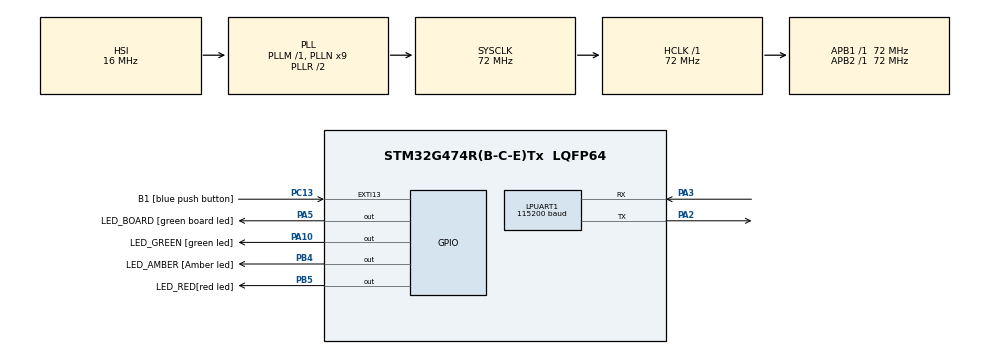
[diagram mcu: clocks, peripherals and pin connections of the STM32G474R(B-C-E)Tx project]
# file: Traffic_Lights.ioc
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LPUART1.BaudRate=115200
Mcu.Family=STM32G4
Mcu.Name=STM32G474R(B-C-E)Tx
Mcu.Package=LQFP64
Mcu.UserConstants=T1_PRE,7199;T1_CNT,2000
NVIC.EXTI15_10_IRQn=true\:0\:0\:false\:false\:true\:true\:true\:true
NVIC.PriorityGroup=NVIC_PRIORITYGROUP_4
NVIC.TIM1_UP_TIM16_IRQn=true\:0\:0\:false\:false\:true\:true\:true\:true
PA10.GPIO_Label=LED_GREEN [green led]
PA10.Signal=GPIO_Output
PA13.GPIO_Label=T_SWDIO
PA13.Mode=Serial_Wire
PA13.Signal=SYS_JTMS-SWDIO
PA14.GPIO_Label=T_SWCLK
PA14.Mode=Serial_Wire
PA14.Signal=SYS_JTCK-SWCLK
PA2.GPIO_Speed=GPIO_SPEED_FREQ_MEDIUM
PA2.Mode=Asynchronous
PA2.Signal=LPUART1_TX
PA3.GPIO_Mode=GPIO_MODE_AF_PP
PA3.GPIO_PuPd=GPIO_NOPULL
PA3.GPIO_Speed=GPIO_SPEED_FREQ_LOW
PA3.Mode=Asynchronous
PA3.Signal=LPUART1_RX
PA5.GPIO_Label=LED_BOARD [green board led]
PA5.Signal=GPIO_Output
PB3.GPIO_Label=T_SWO
PB3.Signal=SYS_JTDO-SWO
PB4.GPIO_Label=LED_AMBER [Amber led]
PB4.Signal=GPIO_Output
PB5.GPIO_Label=LED_RED[red led]
PB5.Signal=GPIO_Output
PC13.GPIO_Label=B1 [blue push button]
PC13.GPIO_ModeDefaultEXTI=GPIO_MODE_IT_RISING_FALLING
PC13.Signal=GPXTI13
PC14-OSC32_IN.Mode=LSE-External-Oscillator
PC14-OSC32_IN.Signal=RCC_OSC32_IN
PC15-OSC32_OUT.Mode=LSE-External-Oscillator
PC15-OSC32_OUT.Signal=RCC_OSC32_OUT
PF0-OSC_IN.Mode=HSE-External-Oscillator
PF0-OSC_IN.Signal=RCC_OSC_IN
PF1-OSC_OUT.Mode=HSE-External-Oscillator
PF1-OSC_OUT.Signal=RCC_OSC_OUT
ProjectManager.HeapSize=0x200
ProjectManager.StackSize=0x400
ProjectManager.TargetToolchain=STM32CubeIDE
RCC.ADC12Freq_Value=72000000
RCC.ADC345Freq_Value=72000000
RCC.AHBFreq_Value=72000000
RCC.APB1Freq_Value=72000000
RCC.APB1TimFreq_Value=72000000
RCC.APB2Freq_Value=72000000
RCC.APB2TimFreq_Value=72000000
RCC.CortexFreq_Value=72000000
RCC.EXTERNAL_CLOCK_VALUE=12288000
RCC.HCLKFreq_Value=72000000
RCC.HSE_VALUE=24000000
RCC.HSI48_VALUE=48000000
RCC.HSI_VALUE=16000000
RCC.PLLN=9
RCC.RTCClockSelection=RCC_RTCCLKSOURCE_LSE
RCC.SYSCLKFreq_VALUE=72000000
RCC.SYSCLKSource=RCC_SYSCLKSOURCE_PLLCLK
RCC.USBFreq_Value=72000000
RCC.VCOOutputFreq_Value=144000000
TIM1.PeriodNoDither=T1_CNT
TIM1.Prescaler=T1_PRE
TIM1.TIM_MasterOutputTrigger=TIM_TRGO_UPDATE
TIM1.TIM_MasterOutputTrigger2=TIM_TRGO2_UPDATE
VP_SYS_VS_DBSignals.Mode=DisableDeadBatterySignals
VP_TIM1_VS_ClockSourceINT.Mode=Internal
board=NUCLEO-G474RE

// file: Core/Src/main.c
/* USER CODE BEGIN Header */
/**
 ******************************************************************************
 * @file           : main.c
 * @brief          : Main program body
 ******************************************************************************
 * @attention
 *
 * Copyright (c) 2023 STMicroelectronics.
 * All rights reserved.
 *
 * This software is licensed under terms that can be found in the LICENSE file
 * in the root directory of this software component.
 * If no LICENSE file comes with this software, it is provided AS-IS.
 *
 ******************************************************************************
 */
/* USER CODE END Header */
#include "main.h"

/* USER CODE BEGIN Includes */
#include <stdio.h>
#include <stdbool.h>

/* USER CODE END Includes */

/* USER CODE BEGIN PD */

// Time in ms between each state
#define STATE_TRANSITION_DELAY 2500
// Green light state takes SHORTEN_FACTOR+1 times less time when pb pressed
#define SHORTEN_FACTOR 2
/* USER CODE END PD */

UART_HandleTypeDef hlpuart1;

TIM_HandleTypeDef htim1;

/* USER CODE BEGIN PV */
bool pb_pushed = false;

enum Traffic_light_state
{
  GO,
  READY_STOP,
  STOP,
  READY_GO,
  FLASHING
};

enum Traffic_light_state state = READY_STOP;
/* USER CODE END PV */

void SystemClock_Config(void);
static void MX_GPIO_Init(void);
static void MX_LPUART1_UART_Init(void);
static void MX_TIM1_Init(void);
/* USER CODE BEGIN PFP */
void Next_state(void);
void All_traffic_lights_off(void);
void GO_State_Delay(uint32_t Delay, int Shorten_Factor);
void Update_lights(void);

#ifdef __GNUC__
#define PUTCHAR_PROTOTYPE int __io_putchar(int ch)
#else
#define PUTCHAR_PROTOTYPE int fputc(int ch, FILE *f)
#endif

PUTCHAR_PROTOTYPE
{
  HAL_UART_Transmit(&hlpuart1, (uint8_t *)&ch, 1, HAL_MAX_DELAY);
  return ch;
}
/* USER CODE END PFP */

int main(void)
{

  /* MCU Configuration--------------------------------------------------------*/

  /* Reset of all peripherals, Initializes the Flash interface and the Systick. */
  HAL_Init();

  /* Configure the system clock */
  SystemClock_Config();

  /* Initialize all configured peripherals */
  MX_GPIO_Init();
  MX_LPUART1_UART_Init();
  MX_TIM1_Init();
  /* USER CODE BEGIN 2 */
  // Fire up the pedestrian LED flash timer
  HAL_TIM_Base_Start_IT(&htim1);
  MX_LPUART1_UART_Init();

  /* USER CODE BEGIN 2 */

  /* USER CODE END 2 */

  /* Infinite loop */
  /* USER CODE BEGIN WHILE */
  while (true)
  {
    Next_state();
  }
  /* USER CODE END WHILE */

}

void SystemClock_Config(void)
{
  RCC_OscInitTypeDef RCC_OscInitStruct = {0};
  RCC_ClkInitTypeDef RCC_ClkInitStruct = {0};

  /** Configure the main internal regulator output voltage
   */
  HAL_PWREx_ControlVoltageScaling(PWR_REGULATOR_VOLTAGE_SCALE1);

  /** Initializes the RCC Oscillators according to the specified parameters
   * in the RCC_OscInitTypeDef structure.
   */
  RCC_OscInitStruct.OscillatorType = RCC_OSCILLATORTYPE_HSI;
  RCC_OscInitStruct.HSIState = RCC_HSI_ON;
  RCC_OscInitStruct.HSICalibrationValue = RCC_HSICALIBRATION_DEFAULT;
  RCC_OscInitStruct.PLL.PLLState = RCC_PLL_ON;
  RCC_OscInitStruct.PLL.PLLSource = RCC_PLLSOURCE_HSI;
  RCC_OscInitStruct.PLL.PLLM = RCC_PLLM_DIV1;
  RCC_OscInitStruct.PLL.PLLN = 9;
  RCC_OscInitStruct.PLL.PLLP = RCC_PLLP_DIV2;
  RCC_OscInitStruct.PLL.PLLQ = RCC_PLLQ_DIV2;
  RCC_OscInitStruct.PLL.PLLR = RCC_PLLR_DIV2;
  if (HAL_RCC_OscConfig(&RCC_OscInitStruct) != HAL_OK)
  {
    Error_Handler();
  }

  /** Initializes the CPU, AHB and APB buses clocks
   */
  RCC_ClkInitStruct.ClockType = RCC_CLOCKTYPE_HCLK | RCC_CLOCKTYPE_SYSCLK | RCC_CLOCKTYPE_PCLK1 | RCC_CLOCKTYPE_PCLK2;
  RCC_ClkInitStruct.SYSCLKSource = RCC_SYSCLKSOURCE_PLLCLK;
  RCC_ClkInitStruct.AHBCLKDivider = RCC_SYSCLK_DIV1;
  RCC_ClkInitStruct.APB1CLKDivider = RCC_HCLK_DIV1;
  RCC_ClkInitStruct.APB2CLKDivider = RCC_HCLK_DIV1;

  if (HAL_RCC_ClockConfig(&RCC_ClkInitStruct, FLASH_LATENCY_2) != HAL_OK)
  {
    Error_Handler();
  }
}

static void MX_LPUART1_UART_Init(void)
{

  hlpuart1.Instance = LPUART1;
  hlpuart1.Init.BaudRate = 115200;
  hlpuart1.Init.WordLength = UART_WORDLENGTH_8B;
  hlpuart1.Init.StopBits = UART_STOPBITS_1;
  hlpuart1.Init.Parity = UART_PARITY_NONE;
  hlpuart1.Init.Mode = UART_MODE_TX_RX;
  hlpuart1.Init.HwFlowCtl = UART_HWCONTROL_NONE;
  hlpuart1.Init.OneBitSampling = UART_ONE_BIT_SAMPLE_DISABLE;
  hlpuart1.Init.ClockPrescaler = UART_PRESCALER_DIV1;
  hlpuart1.AdvancedInit.AdvFeatureInit = UART_ADVFEATURE_NO_INIT;
  if (HAL_UART_Init(&hlpuart1) != HAL_OK)
  {
    Error_Handler();
  }
  if (HAL_UARTEx_SetTxFifoThreshold(&hlpuart1, UART_TXFIFO_THRESHOLD_1_8) != HAL_OK)
  {
    Error_Handler();
  }
  if (HAL_UARTEx_SetRxFifoThreshold(&hlpuart1, UART_RXFIFO_THRESHOLD_1_8) != HAL_OK)
  {
    Error_Handler();
  }
  if (HAL_UARTEx_DisableFifoMode(&hlpuart1) != HAL_OK)
  {
    Error_Handler();
  }
}

static void MX_TIM1_Init(void)
{

  TIM_ClockConfigTypeDef sClockSourceConfig = {0};
  TIM_MasterConfigTypeDef sMasterConfig = {0};

  htim1.Instance = TIM1;
  htim1.Init.Prescaler = T1_PRE;
  htim1.Init.CounterMode = TIM_COUNTERMODE_UP;
  htim1.Init.Period = 2000;
  htim1.Init.ClockDivision = TIM_CLOCKDIVISION_DIV1;
  htim1.Init.RepetitionCounter = 0;
  htim1.Init.AutoReloadPreload = TIM_AUTORELOAD_PRELOAD_DISABLE;
  if (HAL_TIM_Base_Init(&htim1) != HAL_OK)
  {
    Error_Handler();
  }
  sClockSourceConfig.ClockSource = TIM_CLOCKSOURCE_INTERNAL;
  if (HAL_TIM_ConfigClockSource(&htim1, &sClockSourceConfig) != HAL_OK)
  {
    Error_Handler();
  }
  sMasterConfig.MasterOutputTrigger = TIM_TRGO_UPDATE;
  sMasterConfig.MasterOutputTrigger2 = TIM_TRGO2_UPDATE;
  sMasterConfig.MasterSlaveMode = TIM_MASTERSLAVEMODE_DISABLE;
  if (HAL_TIMEx_MasterConfigSynchronization(&htim1, &sMasterConfig) != HAL_OK)
  {
    Error_Handler();
  }
}

static void MX_GPIO_Init(void)
{
  GPIO_InitTypeDef GPIO_InitStruct = {0};

  /* GPIO Ports Clock Enable */
  __HAL_RCC_GPIOC_CLK_ENABLE();
  __HAL_RCC_GPIOF_CLK_ENABLE();
  __HAL_RCC_GPIOA_CLK_ENABLE();
  __HAL_RCC_GPIOB_CLK_ENABLE();

  /*Configure GPIO pin Output Level */
  HAL_GPIO_WritePin(GPIOA, LED_BOARD_Pin | LED_GREEN_Pin, GPIO_PIN_RESET);

  /*Configure GPIO pin Output Level */
  HAL_GPIO_WritePin(GPIOB, LED_AMBER_Pin | LED_RED_Pin, GPIO_PIN_RESET);

  /*Configure GPIO pin : B1_Pin */
  GPIO_InitStruct.Pin = B1_Pin;
  GPIO_InitStruct.Mode = GPIO_MODE_IT_RISING_FALLING;
  GPIO_InitStruct.Pull = GPIO_NOPULL;
  HAL_GPIO_Init(B1_GPIO_Port, &GPIO_InitStruct);

  /*Configure GPIO pins : LED_BOARD_Pin LED_GREEN_Pin */
  GPIO_InitStruct.Pin = LED_BOARD_Pin | LED_GREEN_Pin;
  GPIO_InitStruct.Mode = GPIO_MODE_OUTPUT_PP;
  GPIO_InitStruct.Pull = GPIO_NOPULL;
  GPIO_InitStruct.Speed = GPIO_SPEED_FREQ_LOW;
  HAL_GPIO_Init(GPIOA, &GPIO_InitStruct);

  /*Configure GPIO pins : LED_AMBER_Pin LED_RED_Pin */
  GPIO_InitStruct.Pin = LED_AMBER_Pin | LED_RED_Pin;
  GPIO_InitStruct.Mode = GPIO_MODE_OUTPUT_PP;
  GPIO_InitStruct.Pull = GPIO_NOPULL;
  GPIO_InitStruct.Speed = GPIO_SPEED_FREQ_LOW;
  HAL_GPIO_Init(GPIOB, &GPIO_InitStruct);

  /* EXTI interrupt init*/
  HAL_NVIC_SetPriority(EXTI15_10_IRQn, 0, 0);
  HAL_NVIC_EnableIRQ(EXTI15_10_IRQn);

}

/* USER CODE BEGIN 4 */
/**
 * @brief  This function changes the traffic lights state to the next state.
 * @retval None
 */
void Next_state(void)
{
  switch (state)
  {
  case (READY_GO):
    state = GO;
    break;
  case (GO):
    state = READY_STOP;
    break;
  case (READY_STOP):
    state = STOP;
    break;
  case (STOP):
    if (pb_pushed)
    {
      state = FLASHING;
    }
    else
    {
      state = READY_GO;
    }
    break;
  case (FLASHING):
    state = GO;
    break;
  }
  Update_lights();
}

/**
 * @brief  This function updates the traffic lights to the current state + delays.
 * @retval None
 */
void Update_lights(void)
{
  switch (state)
  {
  case (GO):
    printf("State: GO\n");
    All_traffic_lights_off();
    HAL_GPIO_WritePin(LED_GREEN_GPIO_Port, LED_GREEN_Pin, GPIO_PIN_SET);
    GO_State_Delay(STATE_TRANSITION_DELAY, SHORTEN_FACTOR);
    break;
  case (READY_STOP):
    printf("State: READY_STOP\n");
    All_traffic_lights_off();
    HAL_GPIO_WritePin(LED_AMBER_GPIO_Port, LED_AMBER_Pin, GPIO_PIN_SET);
    HAL_Delay(STATE_TRANSITION_DELAY);
    break;
  case (STOP):
    printf("State: STOP\n");
    All_traffic_lights_off();
    TIM1 -> CNT &= 0x0;    //reset timer so flash looks the same each time
    HAL_GPIO_WritePin(LED_BOARD_GPIO_Port, LED_BOARD_Pin, GPIO_PIN_RESET);
    HAL_GPIO_WritePin(LED_RED_GPIO_Port, LED_RED_Pin, GPIO_PIN_SET);
    HAL_Delay(STATE_TRANSITION_DELAY);
    break;
  case (READY_GO):
    printf("State: READY_GO\n");
    All_traffic_lights_off();
    HAL_GPIO_WritePin(LED_BOARD_GPIO_Port, LED_BOARD_Pin, GPIO_PIN_RESET);
    HAL_GPIO_WritePin(LED_AMBER_GPIO_Port, LED_AMBER_Pin, GPIO_PIN_SET);
    HAL_GPIO_WritePin(LED_RED_GPIO_Port, LED_RED_Pin, GPIO_PIN_SET);
    HAL_Delay(STATE_TRANSITION_DELAY);
    break;
  case (FLASHING):
    pb_pushed = false;
    printf("State: FLASHING\n");
    All_traffic_lights_off();
    TIM1 -> CNT &= 0x0;    //reset timer so flash looks the same each time
    HAL_GPIO_WritePin(LED_AMBER_GPIO_Port, LED_AMBER_Pin, GPIO_PIN_SET);
    HAL_Delay(STATE_TRANSITION_DELAY);
  }
}

/**
 * @brief  This function turns off all coloured traffic lights
 * @retval None
 */
void All_traffic_lights_off(void)
{
  HAL_GPIO_WritePin(LED_GREEN_GPIO_Port, LED_GREEN_Pin, GPIO_PIN_RESET);
  HAL_GPIO_WritePin(LED_AMBER_GPIO_Port, LED_AMBER_Pin, GPIO_PIN_RESET);
  HAL_GPIO_WritePin(LED_RED_GPIO_Port, LED_RED_Pin, GPIO_PIN_RESET);
}

/**
 * @brief  This function waits Shorten_Factor+1 times less time if the push button is pressed
 * @retval None
 */
void GO_State_Delay(uint32_t Delay, int Shorten_Factor)
{
  uint32_t tickstart = HAL_GetTick();
  uint32_t wait = Delay;

  /* Add a freq to guarantee minimum wait */
  if (wait < HAL_MAX_DELAY)
  {
    wait += (uint32_t)(uwTickFreq);
  }

  while ((HAL_GetTick() - tickstart) < wait / (1 + Shorten_Factor * pb_pushed))
  {
  }
}

// Blue button External Interrupt ISR Handler CallBackFun
void HAL_GPIO_EXTI_Callback(uint16_t GPIO_Pin)
{
  if (GPIO_Pin == B1_Pin)
  {
    printf("pb interrupt received\n");
    if ((HAL_GPIO_ReadPin(B1_GPIO_Port, B1_Pin) == GPIO_PIN_SET) && (state != STOP))
    {
      pb_pushed = true;
      printf("Pedestrian waiting\n");
      HAL_GPIO_WritePin(LED_BOARD_GPIO_Port, LED_BOARD_Pin, GPIO_PIN_SET);
    }
  }
}

// Timer 1 callback for flashing pedestrian button
void HAL_TIM_PeriodElapsedCallback(TIM_HandleTypeDef *htim)
{
  if (htim->Instance == TIM1)
  {
    switch (state)
    {
    case (STOP):
      HAL_GPIO_TogglePin(LED_BOARD_GPIO_Port, LED_BOARD_Pin);
      break;
    case (FLASHING):
      HAL_GPIO_TogglePin(LED_AMBER_GPIO_Port, LED_AMBER_Pin);
      break;
    default:
      break;
    }
  }
}
/* USER CODE END 4 */

void Error_Handler(void)
{
  __disable_irq();
  while (1)
  {
  }
}
